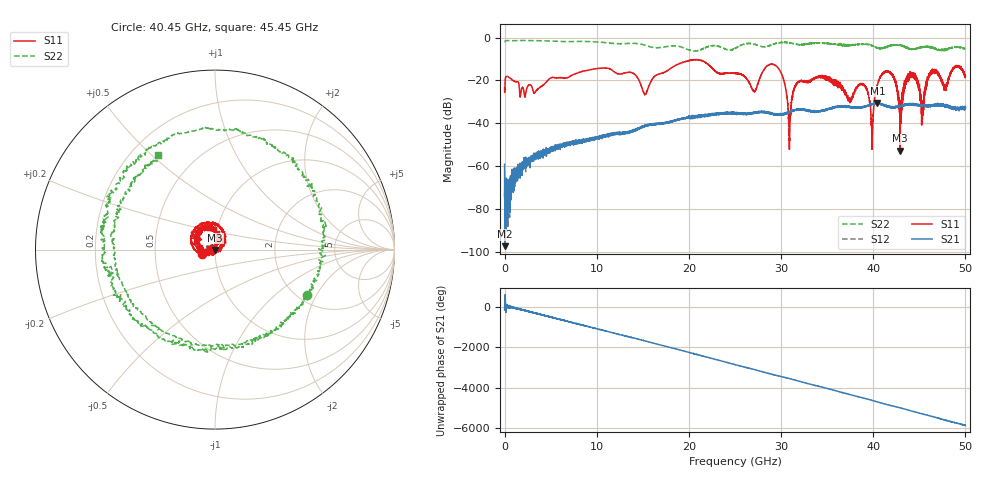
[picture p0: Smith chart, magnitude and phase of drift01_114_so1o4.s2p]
!Created with skrf (http://scikit-rf.org).
# Hz S RI R 50.0
!freq ReS11 ImS11 ReS21 ImS21 ReS12 ImS12 ReS22 ImS22
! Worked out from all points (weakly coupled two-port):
!   10001 points, 300 kHz to 50 GHz, reference 50 ohm
!   highest |S21| = -30.58 dB at 40.46 GHz (marker M1); lowest = -97.5 dB at 25.3 MHz (marker M2)
!   lowest |S11| = -52.9 dB at 42.94 GHz (marker M3), VSWR 1.00, Z = 50.1 - j0.214 ohm
!   |S11| at or under -10 dB: start of sweep to end of sweep
!   |S22| runs from -6.3 to -1.4 dB; largest |S21 - S12| = 0.0042
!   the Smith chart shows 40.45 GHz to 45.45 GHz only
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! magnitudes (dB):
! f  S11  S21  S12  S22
! 300 kHz  -23.6  -59.2  -74.5  -2.1
! 25.3 MHz  -23.1  -97.5  -81.4  -1.9
! 2.68 GHz  -22.0  -57.2  -56.6  -1.4
! 8.335 GHz  -15.9  -48.9  -48.1  -1.8
! 15.23 GHz  -26.6  -41.5  -41.2  -3.5
! 16.67 GHz  -17.1  -40.5  -40.5  -4.8
! 25 GHz  -16.6  -35.5  -35.3  -5.1
! 27.1 GHz  -25.2  -35.2  -35.1  -3.1
! 29.44 GHz  -13.1  -35.9  -36.1  -2.7
! 30.92 GHz  -49.8  -34.9  -34.8  -2.5
! 31.67 GHz  -21.7  -33.9  -33.6  -3.1
! 33.34 GHz  -19.7  -34.4  -34.4  -2.7
! 37.5 GHz  -29.3  -32.5  -32.5  -3.7
! 38.91 GHz  -22.0  -32.4  -32.6  -3.0
! 39.86 GHz  -46.4  -31.2  -31.0  -3.6
! 40.46 GHz  -22.1  -30.6  -30.7  -4.8
! 41.67 GHz  -15.9  -32.1  -32.3  -4.1
! 42.94 GHz  -52.9  -31.8  -32.1  -3.6
! 44.05 GHz  -16.7  -31.1  -31.2  -5.3
! 45.32 GHz  -37.6  -31.9  -31.9  -4.5
! 46.42 GHz  -15.7  -31.4  -31.7  -4.7
! 50 GHz  -18.0  -32.2  -33.2  -5.3
